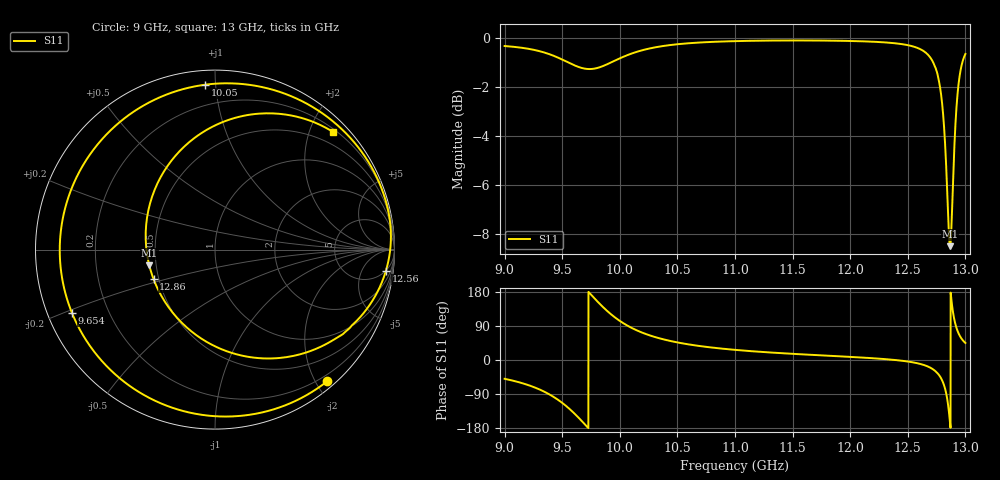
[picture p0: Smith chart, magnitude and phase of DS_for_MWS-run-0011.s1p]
! TOUCHSTONE file generated by CST DESIGN STUDIO
! Date and time: Tue Feb  4 16:12:29 2025
! Project name: C:\Work\MatlabApps\UnitCellOptimizationMatlab\CST\unitcell.cst
! Tree item: Tasks\Sweep1\SPara1\S-Parameters
! Header version: 2024
! Port assignment regex: !\s*Touchstone port\s*([0-9]+)\s*=\s*(CST MWS port|CST DES external port|CST DES block port)\s*(.+)\s* \(\"(.*)\"\)(\s*mode\s*([0-9]+))?.*
! Touchstone port assignment:
! Touchstone port 1 = CST DES external port 1 ("")
# GHz S MA R 50
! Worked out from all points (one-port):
!   4001 points, 9 GHz to 13 GHz, reference 50 ohm
!   lowest |S11| = -8.5 dB at 12.87 GHz (marker M1), VSWR 2.21, Z = 22.9 - j4.66 ohm
!   |S11| at or under -10 dB: nowhere
!   S11 on the Smith chart (normalised r, x): 9 GHz: 0.10, -2.16; 9.654 GHz: 0.07, -0.21; 10.05 GHz: 0.08, +0.94; 12.56 GHz: 5, -14; 12.86 GHz: 0.47, -0.18; 13 GHz: 0.25, +2.39
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9  0.9637 -49.6
9.266  0.9452 -73.0
9.399  0.9256 -92.5
9.5  0.9044 -113.1
9.654  0.8715 -156.0
9.724  0.8651 -178.9
9.794  0.8681 158.2
9.896  0.8859 127.9
10  0.9096 103.2
10.05  0.9202 93.5
10.252  0.9519 65.8
10.5  0.9717 46.4
11  0.9861 26.8
11.5  0.9892 16.3
12  0.9868 8.2
12.5  0.9676 -4.0
12.561  0.9594 -7.2
12.684  0.9201 -18.5
12.755  0.8497 -34.1
12.79  0.764 -48.8
12.822  0.6194 -73.9
12.842  0.4878 -102.3
12.863  0.3799 -154.2
12.867  0.3766 -166.6
12.889  0.4813 133.0
12.921  0.7135 86.3
12.96  0.8646 59.4
13  0.9283 45.0
